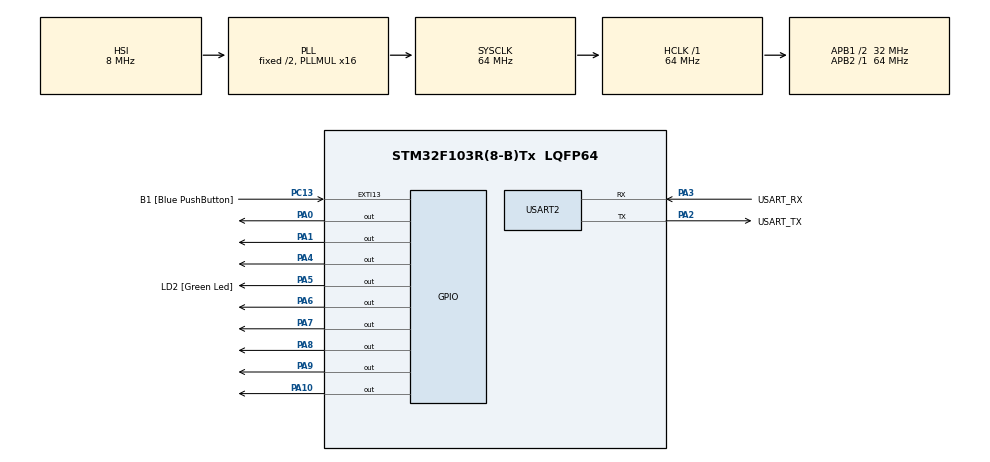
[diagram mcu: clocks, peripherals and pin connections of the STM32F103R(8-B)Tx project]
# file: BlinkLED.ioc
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Mcu.Family=STM32F1
Mcu.Name=STM32F103R(8-B)Tx
Mcu.Package=LQFP64
NVIC.EXTI15_10_IRQn=true\:0\:0\:false\:false\:true\:true\:true
NVIC.PriorityGroup=NVIC_PRIORITYGROUP_4
PA0-WKUP.Signal=GPIO_Output
PA1.Signal=GPIO_Output
PA10.Signal=GPIO_Output
PA13.GPIO_Label=TMS
PA13.Mode=Serial_Wire
PA13.Signal=SYS_JTMS-SWDIO
PA14.GPIO_Label=TCK
PA14.Mode=Serial_Wire
PA14.Signal=SYS_JTCK-SWCLK
PA2.GPIO_Label=USART_TX
PA2.GPIO_Mode=GPIO_MODE_AF_PP
PA2.GPIO_PuPd=GPIO_NOPULL
PA2.GPIO_Speed=GPIO_SPEED_FREQ_LOW
PA2.Mode=Asynchronous
PA2.Signal=USART2_TX
PA3.GPIO_Label=USART_RX
PA3.GPIO_Mode=GPIO_MODE_AF_PP
PA3.GPIO_PuPd=GPIO_NOPULL
PA3.GPIO_Speed=GPIO_SPEED_FREQ_LOW
PA3.Mode=Asynchronous
PA3.Signal=USART2_RX
PA4.Signal=GPIO_Output
PA5.GPIO_Label=LD2 [Green Led]
PA5.GPIO_ModeDefaultOutputPP=GPIO_MODE_OUTPUT_PP
PA5.GPIO_PuPd=GPIO_NOPULL
PA5.GPIO_Speed=GPIO_SPEED_FREQ_LOW
PA5.Signal=GPIO_Output
PA6.Signal=GPIO_Output
PA7.Signal=GPIO_Output
PA8.Signal=GPIO_Output
PA9.Signal=GPIO_Output
PB3.GPIO_Label=SWO
PB3.Signal=SYS_JTDO-TRACESWO
PC13-TAMPER-RTC.GPIO_Label=B1 [Blue PushButton]
PC13-TAMPER-RTC.GPIO_PuPd=GPIO_NOPULL
PC13-TAMPER-RTC.Signal=GPXTI13
PC14-OSC32_IN.Mode=LSE-External-Oscillator
PC14-OSC32_IN.Signal=RCC_OSC32_IN
PC15-OSC32_OUT.Mode=LSE-External-Oscillator
PC15-OSC32_OUT.Signal=RCC_OSC32_OUT
PD0-OSC_IN.Mode=HSE-External-Clock-Source
PD0-OSC_IN.Signal=RCC_OSC_IN
PD1-OSC_OUT.Mode=HSE-External-Clock-Source
PD1-OSC_OUT.Signal=RCC_OSC_OUT
ProjectManager.HeapSize=0x200
ProjectManager.StackSize=0x400
ProjectManager.TargetToolchain=STM32CubeIDE
RCC.AHBFreq_Value=64000000
RCC.APB1CLKDivider=RCC_HCLK_DIV2
RCC.APB1Freq_Value=32000000
RCC.APB1TimFreq_Value=64000000
RCC.APB2Freq_Value=64000000
RCC.APB2TimFreq_Value=64000000
RCC.HCLKFreq_Value=64000000
RCC.PLLMUL=RCC_PLL_MUL16
RCC.RTCClockSelection=RCC_RTCCLKSOURCE_LSE
RCC.SYSCLKFreq_VALUE=64000000
RCC.SYSCLKSource=RCC_SYSCLKSOURCE_PLLCLK
RCC.USBFreq_Value=64000000
USART2.VirtualMode=VM_ASYNC
board=NUCLEO-F103RB

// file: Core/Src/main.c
/* USER CODE BEGIN Header */
/**
  ******************************************************************************
  * @file           : main.c
  * @brief          : Main program body
  ******************************************************************************
  * @attention
  *
  * <h2><center>&copy; Copyright (c) 2021 STMicroelectronics.
  * All rights reserved.</center></h2>
  *
  * This software component is licensed by ST under BSD 3-Clause license,
  * the "License"; You may not use this file except in compliance with the
  * License. You may obtain a copy of the License at:
  *                        opensource.org/licenses/BSD-3-Clause
  *
  ******************************************************************************
  */
/* USER CODE END Header */
#include "main.h"

UART_HandleTypeDef huart2;

/* USER CODE BEGIN PV */
uint16_t delay = 53;
/* USER CODE END PV */

void SystemClock_Config(void);
static void MX_GPIO_Init(void);
static void MX_USART2_UART_Init(void);

int main(void)
{

  /* MCU Configuration--------------------------------------------------------*/

  /* Reset of all peripherals, Initializes the Flash interface and the Systick. */
  HAL_Init();

  /* Configure the system clock */
  SystemClock_Config();

  /* USER CODE BEGIN SysInit */
  HAL_GPIO_WritePin(LD2_GPIO_Port, GPIO_PIN_10, GPIO_PIN_SET);
  /* USER CODE END SysInit */

  /* Initialize all configured peripherals */
  MX_GPIO_Init();
  MX_USART2_UART_Init();

  /* Infinite loop */
  /* USER CODE BEGIN WHILE */
  int i=0xff;
  while (1)
  {
    /* USER CODE END WHILE */

    /* USER CODE BEGIN 3 */
	  if (!(i % 2))
		  HAL_GPIO_TogglePin(LD2_GPIO_Port, LD2_Pin);

	  if (!(i % 4))
		  HAL_GPIO_TogglePin(LD2_GPIO_Port, GPIO_PIN_1);

	  if (!(i % 8))
		  HAL_GPIO_TogglePin(LD2_GPIO_Port, GPIO_PIN_8);

	  if (!(i % 0x10))
		  HAL_GPIO_TogglePin(LD2_GPIO_Port, GPIO_PIN_10);

	  i--;

	  if (!i)
		  i=0xff;

	  HAL_Delay(delay);
  }
  /* USER CODE END 3 */
}

void SystemClock_Config(void)
{
  RCC_OscInitTypeDef RCC_OscInitStruct = {0};
  RCC_ClkInitTypeDef RCC_ClkInitStruct = {0};

  /** Initializes the RCC Oscillators according to the specified parameters
  * in the RCC_OscInitTypeDef structure.
  */
  RCC_OscInitStruct.OscillatorType = RCC_OSCILLATORTYPE_HSI;
  RCC_OscInitStruct.HSIState = RCC_HSI_ON;
  RCC_OscInitStruct.HSICalibrationValue = RCC_HSICALIBRATION_DEFAULT;
  RCC_OscInitStruct.PLL.PLLState = RCC_PLL_ON;
  RCC_OscInitStruct.PLL.PLLSource = RCC_PLLSOURCE_HSI_DIV2;
  RCC_OscInitStruct.PLL.PLLMUL = RCC_PLL_MUL16;
  if (HAL_RCC_OscConfig(&RCC_OscInitStruct) != HAL_OK)
  {
    Error_Handler();
  }
  /** Initializes the CPU, AHB and APB buses clocks
  */
  RCC_ClkInitStruct.ClockType = RCC_CLOCKTYPE_HCLK|RCC_CLOCKTYPE_SYSCLK
                              |RCC_CLOCKTYPE_PCLK1|RCC_CLOCKTYPE_PCLK2;
  RCC_ClkInitStruct.SYSCLKSource = RCC_SYSCLKSOURCE_PLLCLK;
  RCC_ClkInitStruct.AHBCLKDivider = RCC_SYSCLK_DIV1;
  RCC_ClkInitStruct.APB1CLKDivider = RCC_HCLK_DIV2;
  RCC_ClkInitStruct.APB2CLKDivider = RCC_HCLK_DIV1;

  if (HAL_RCC_ClockConfig(&RCC_ClkInitStruct, FLASH_LATENCY_2) != HAL_OK)
  {
    Error_Handler();
  }
}

static void MX_USART2_UART_Init(void)
{

  huart2.Instance = USART2;
  huart2.Init.BaudRate = 115200;
  huart2.Init.WordLength = UART_WORDLENGTH_8B;
  huart2.Init.StopBits = UART_STOPBITS_1;
  huart2.Init.Parity = UART_PARITY_NONE;
  huart2.Init.Mode = UART_MODE_TX_RX;
  huart2.Init.HwFlowCtl = UART_HWCONTROL_NONE;
  huart2.Init.OverSampling = UART_OVERSAMPLING_16;
  if (HAL_UART_Init(&huart2) != HAL_OK)
  {
    Error_Handler();
  }

}

static void MX_GPIO_Init(void)
{
  GPIO_InitTypeDef GPIO_InitStruct = {0};

  /* GPIO Ports Clock Enable */
  __HAL_RCC_GPIOC_CLK_ENABLE();
  __HAL_RCC_GPIOD_CLK_ENABLE();
  __HAL_RCC_GPIOA_CLK_ENABLE();
  __HAL_RCC_GPIOB_CLK_ENABLE();

  /*Configure GPIO pin Output Level */
  HAL_GPIO_WritePin(GPIOA, GPIO_PIN_0|GPIO_PIN_1|GPIO_PIN_4|LD2_Pin
                          |GPIO_PIN_6|GPIO_PIN_7|GPIO_PIN_8|GPIO_PIN_9
                          |GPIO_PIN_10, GPIO_PIN_RESET);

  /*Configure GPIO pin : B1_Pin */
  GPIO_InitStruct.Pin = B1_Pin;
  GPIO_InitStruct.Mode = GPIO_MODE_IT_RISING;
  GPIO_InitStruct.Pull = GPIO_NOPULL;
  HAL_GPIO_Init(B1_GPIO_Port, &GPIO_InitStruct);

  /*Configure GPIO pins : PA0 PA1 PA4 LD2_Pin
                           PA6 PA7 PA8 PA9
                           PA10 */
  GPIO_InitStruct.Pin = GPIO_PIN_0|GPIO_PIN_1|GPIO_PIN_4|LD2_Pin
                          |GPIO_PIN_6|GPIO_PIN_7|GPIO_PIN_8|GPIO_PIN_9
                          |GPIO_PIN_10;
  GPIO_InitStruct.Mode = GPIO_MODE_OUTPUT_PP;
  GPIO_InitStruct.Pull = GPIO_NOPULL;
  GPIO_InitStruct.Speed = GPIO_SPEED_FREQ_LOW;
  HAL_GPIO_Init(GPIOA, &GPIO_InitStruct);

  GPIO_InitStruct.Pin = GPIO_PIN_13;
  GPIO_InitStruct.Mode = GPIO_MODE_IT_RISING;
  GPIO_InitStruct.Pull = GPIO_NOPULL;
  HAL_GPIO_Init(GPIOC, &GPIO_InitStruct);

  /* EXTI interrupt init*/
  HAL_NVIC_SetPriority(EXTI15_10_IRQn, 0, 0);
  HAL_NVIC_EnableIRQ(EXTI15_10_IRQn);

}

void Error_Handler(void)
{
}

/************************ (C) COPYRIGHT STMicroelectronics *****END OF FILE****/
